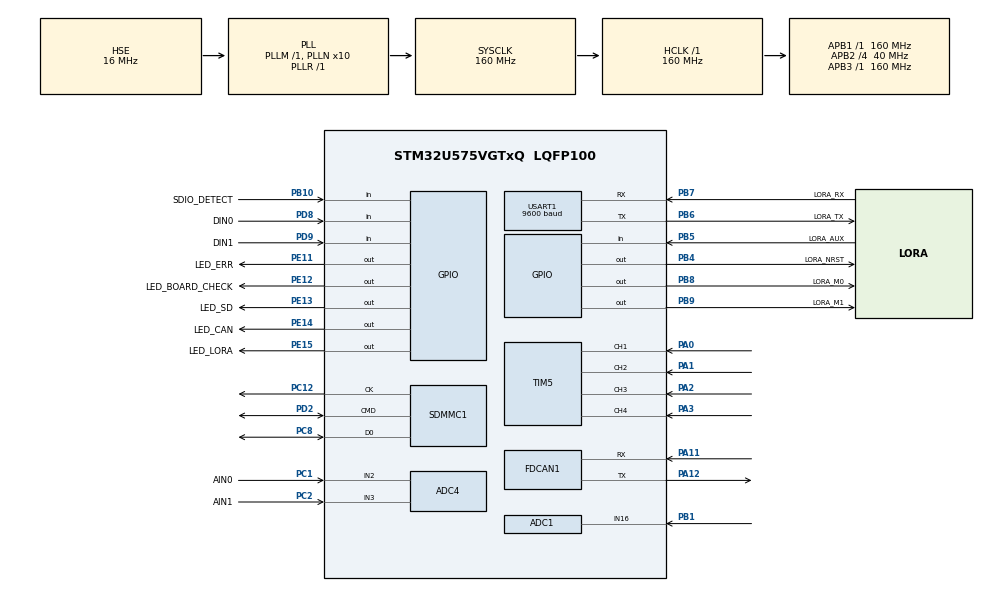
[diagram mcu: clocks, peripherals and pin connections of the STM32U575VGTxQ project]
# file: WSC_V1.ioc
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ADC1.ClockPrescaler=ADC_CLOCK_ASYNC_DIV4
ADC1.NbrOfConversion=1
ADC1.master=1
ADC4.ClockPrescaler=ADC_CLOCK_ASYNC_DIV4
ADC4.NbrOfConversion=1
ADC4.NbrOfConversionFlag=0
ADC4.SelectedChannel=ADC_CHANNEL_2|ADC_CHANNEL_3
CORTEX_M33_NS.userName=CORTEX_M33
FDCAN1.CalculateBaudRateNominal=500000
FDCAN1.CalculateTimeBitNominal=2000
FDCAN1.CalculateTimeQuantumNominal=200.0
FDCAN1.NominalTimeSeg1=7
FDCAN1.NominalTimeSeg2=2
FDCAN1.TxFifoQueueMode=FDCAN_TX_QUEUE_OPERATION
FILEX.FX_SD_INTERFACE=1
GPDMA1.CIRCULARMODE_GPDMACH0=ENABLE
GPDMA1.CIRCULARMODE_GPDMACH1=ENABLE
GPDMA1.DESTDATAWIDTH_GPDMACH0=DMA_DEST_DATAWIDTH_WORD
GPDMA1.DESTDATAWIDTH_GPDMACH1=DMA_DEST_DATAWIDTH_WORD
GPDMA1.DESTINC_GPDMACH0=DMA_DINC_INCREMENTED
GPDMA1.DESTINC_GPDMACH1=DMA_DINC_INCREMENTED
GPDMA1.IPHANDLE_GPDMACH0-SIMPLEREQUEST_GPDMACH0=__NULL
GPDMA1.IPHANDLE_GPDMACH1-SIMPLEREQUEST_GPDMACH1=__NULL
GPDMA1.REQUEST_GPDMACH0=GPDMA1_REQUEST_ADC4
GPDMA1.REQUEST_GPDMACH1=GPDMA1_REQUEST_ADC1
GPDMA1.SRCDATAWIDTH_GPDMACH0=DMA_SRC_DATAWIDTH_WORD
GPDMA1.SRCDATAWIDTH_GPDMACH1=DMA_SRC_DATAWIDTH_WORD
GPDMA1.SRCINC_GPDMACH0=DMA_SINC_FIXED
Mcu.Family=STM32U5
Mcu.Name=STM32U575VGTxQ
Mcu.Package=LQFP100
NVIC.ADC1_IRQn=true\:0\:0\:false\:false\:true\:true\:true\:true
NVIC.ADC4_IRQn=true\:0\:0\:false\:false\:true\:true\:true\:true
NVIC.FDCAN1_IT0_IRQn=true\:0\:0\:false\:false\:true\:true\:true\:true
NVIC.FDCAN1_IT1_IRQn=true\:0\:0\:false\:false\:true\:true\:true\:true
NVIC.PriorityGroup=NVIC_PRIORITYGROUP_4
NVIC.SDMMC1_IRQn=true\:0\:0\:false\:false\:true\:true\:true\:true
NVIC.TIM5_IRQn=true\:0\:0\:false\:false\:true\:true\:true\:true
NVIC.USART1_IRQn=true\:0\:0\:false\:false\:true\:true\:true\:true
PA0.Signal=S_TIM5_CH1
PA1.Signal=S_TIM5_CH2
PA11.Mode=FDCAN_Activate
PA11.Signal=FDCAN1_RX
PA12.Mode=FDCAN_Activate
PA12.Signal=FDCAN1_TX
PA2.Signal=S_TIM5_CH3
PA3.Signal=S_TIM5_CH4
PB1.Mode=IN16-Single-Ended
PB1.Signal=ADC1_IN16
PB10.GPIO_Label=SDIO_DETECT
PB10.Signal=GPIO_Input
PB4\ (NJTRST).GPIO_Label=LORA_NRST
PB4\ (NJTRST).Signal=GPIO_Output
PB5.GPIO_Label=LORA_AUX
PB5.Signal=GPIO_Input
PB6.GPIO_Label=LORA_TX
PB6.Mode=Asynchronous
PB6.Signal=USART1_TX
PB7.GPIO_Label=LORA_RX
PB7.Mode=Asynchronous
PB7.Signal=USART1_RX
PB8.GPIO_Label=LORA_M0
PB8.Signal=GPIO_Output
PB9.GPIO_Label=LORA_M1
PB9.Signal=GPIO_Output
PC1.GPIO_Label=AIN0
PC1.Signal=SharedAnalog_PC1
PC12.Mode=SD_1_bit
PC12.Signal=SDMMC1_CK
PC14-OSC32_IN\ (PC14).Mode=LSE-External-Oscillator
PC14-OSC32_IN\ (PC14).Signal=RCC_OSC32_IN
PC15-OSC32_OUT\ (PC15).Mode=LSE-External-Oscillator
PC15-OSC32_OUT\ (PC15).Signal=RCC_OSC32_OUT
PC2.GPIO_Label=AIN1
PC2.Signal=SharedAnalog_PC2
PC8.Mode=SD_1_bit
PC8.Signal=SDMMC1_D0
PD2.Mode=SD_1_bit
PD2.Signal=SDMMC1_CMD
PD8.GPIO_Label=DIN0
PD8.Signal=GPIO_Input
PD9.GPIO_Label=DIN1
PD9.Signal=GPIO_Input
PE11.GPIO_Label=LED_ERR
PE11.Signal=GPIO_Output
PE12.GPIO_Label=LED_BOARD_CHECK
PE12.Signal=GPIO_Output
PE13.GPIO_Label=LED_SD
PE13.Signal=GPIO_Output
PE14.GPIO_Label=LED_CAN
PE14.Signal=GPIO_Output
PE15.GPIO_Label=LED_LORA
PE15.Signal=GPIO_Output
PH0-OSC_IN\ (PH0).Mode=HSE-External-Oscillator
PH0-OSC_IN\ (PH0).Signal=RCC_OSC_IN
PH1-OSC_OUT\ (PH1).Mode=HSE-External-Oscillator
PH1-OSC_OUT\ (PH1).Signal=RCC_OSC_OUT
PWR.PowerMode=PWR_SMPS_SUPPLY
ProjectManager.HeapSize=0x200
ProjectManager.StackSize=0x400
ProjectManager.TargetToolchain=STM32CubeIDE
RCC.ADCFreq_Value=16000000
RCC.AHBFreq_Value=160000000
RCC.APB1Freq_Value=160000000
RCC.APB1TimFreq_Value=160000000
RCC.APB2CLKDivider=RCC_HCLK_DIV4
RCC.APB2Freq_Value=40000000
RCC.APB2TimFreq_Value=80000000
RCC.APB3Freq_Value=160000000
RCC.CortexFreq_Value=160000000
RCC.EPOD_VALUE=16000000
RCC.HCLKFreq_Value=160000000
RCC.HSE_VALUE=16000000
RCC.HSI48_VALUE=48000000
RCC.HSI_VALUE=16000000
RCC.LSIDIV_VALUE=32000
RCC.MSIClockRange=RCC_MSIRANGE_0
RCC.MSI_VALUE=48000000
RCC.PLL1R=1
RCC.PLL2FRACN=0
RCC.PLL3FRACN=0
RCC.PLLFRACN=0
RCC.PLLN=10
RCC.PLLSourceVirtual=RCC_PLLSOURCE_HSE
RCC.RTCClockSelection=RCC_RTCCLKSOURCE_LSE
RCC.SYSCLKFreq_VALUE=160000000
RCC.SYSCLKSource=RCC_SYSCLKSOURCE_PLLCLK
RCC.USBFreq_Value=48000000
RCC.VCOOutputFreq_Value=160000000
SDMMC1.ClockDiv=12
SH.S_TIM5_CH1.0=TIM5_CH1,Input_Capture1_from_TI1
SH.S_TIM5_CH2.0=TIM5_CH2,Input_Capture2_from_TI2
SH.S_TIM5_CH3.0=TIM5_CH3,Input_Capture3_from_TI3
SH.S_TIM5_CH4.0=TIM5_CH4,Input_Capture4_from_TI4
SH.SharedAnalog_PC1.0=ADC1_IN2
SH.SharedAnalog_PC1.1=ADC4_IN2,IN2
SH.SharedAnalog_PC2.0=ADC1_IN3
SH.SharedAnalog_PC2.1=ADC4_IN3,IN3
TIM5.Channel-Input_Capture1_from_TI1=TIM_CHANNEL_1
TIM5.Channel-Input_Capture2_from_TI2=TIM_CHANNEL_2
TIM5.Channel-Input_Capture3_from_TI3=TIM_CHANNEL_3
TIM5.Channel-Input_Capture4_from_TI4=TIM_CHANNEL_4
USART1.BaudRate=9600
USART1.VirtualMode-Asynchronous=VM_ASYNC
VP_ADC1_TempSens_Input.Mode=IN-TempSens
VP_FILEX_VS_FileOoSystemJjFileXJjCore.Mode=FileX_Core
VP_FILEX_VS_SDOointerface.Mode=SD_interface
VP_GPDMA1_VS_GPDMACH0.Mode=SIMPLEREQUEST_GPDMACH0
VP_GPDMA1_VS_GPDMACH1.Mode=SIMPLEREQUEST_GPDMACH1
VP_ICACHE_VS_ICACHE.Mode=DefaultMode
VP_LPBAMQUEUE_VS_QUEUE.Mode=QUEUEMODE
VP_LPBAM_VS_SIG1.Mode=SmartRun
VP_LPBAM_VS_SIG4.Mode=LPDMA1
VP_MEMORYMAP_VS_MEMORYMAP.Mode=CurAppReg
VP_PWR_VS_LPOM.Mode=PowerOptimisation
VP_PWR_VS_SECSignals.Mode=Security/Privilege
VP_PWR_Vdda.Mode=isolationVdda
VP_RTC_VS_RTC_Activate.Mode=RTC_Enabled
VP_TIM5_VS_ClockSourceINT.Mode=Internal
board=custom

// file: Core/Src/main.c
/* USER CODE BEGIN Header */
/**
  ******************************************************************************
  * @file           : main.c
  * @brief          : Main program body (Fixed Linker Error)
  ******************************************************************************
  * @attention
  *
  * Copyright (c) 2025 STMicroelectronics.
  * All rights reserved.
  *
  ******************************************************************************
  */
/* USER CODE END Header */
#include "main.h"
#include "adc.h"
#include "fdcan.h"
#include "app_filex.h"
#include "gpdma.h"
#include "icache.h"
#include "rtc.h"
#include "logger.h"
#include "sdmmc.h"
#include "tim.h"
#include "usart.h"
#include "gpio.h"

/* USER CODE BEGIN Includes */
#include <stdbool.h>
#include <string.h>
#include "logger.h"
#include "types.h"
#include "ringbuffer.h"
/* USER CODE END Includes */

/* USER CODE BEGIN PV */
// [시스템 상태]
SYSTEM_STATE sys_state = {0};

// [전역 로그 변수]
LOG syslog;

// [ADC 플래그]
volatile uint32_t adc_flag = 0;

// [링버퍼 참조]
extern ring_buffer_t LORA_BUFFER;
extern ring_buffer_t SD_BUFFER;

// [LED 깜빡임 보정용 타이머 변수]
volatile uint32_t led_can_off_tick = 0;
volatile uint32_t led_lora_off_tick = 0;
volatile uint32_t led_sd_off_tick = 0;
/* USER CODE END PV */

void SystemClock_Config(void);
static void SystemPower_Config(void);
/* USER CODE BEGIN PFP */
extern int FDCAN_SETUP(void);
extern int LORA_SETUP(void);
extern int ANALOG_SETUP(void);
extern void ANALOG_READ(void);
extern void DIGITAL_READ(void);
extern void RTC_READ(DATETIME *boot);
extern void LORA_TRANSMIT_LOG(void);

// [SD카드 관련 함수]
extern int SD_SETUP(DATETIME *boot);
extern int SD_WRITE(void);
extern int SD_SYNC(void);
/* USER CODE END PFP */

int main(void)
{

  /* MCU Configuration--------------------------------------------------------*/

  /* Reset of all peripherals, Initializes the Flash interface and the Systick. */
  HAL_Init();

  /* Configure the System Power */
  SystemPower_Config();

  /* Configure the system clock */
  SystemClock_Config();

  /* Initialize all configured peripherals */
  MX_GPIO_Init();
  MX_GPDMA1_Init();
  MX_ICACHE_Init();
  MX_FDCAN1_Init();
  MX_SDMMC1_SD_Init();
  MX_ADC4_Init();
  MX_ADC1_Init();
  MX_USART1_UART_Init();
  MX_RTC_Init();
  MX_FileX_Init();
  MX_TIM5_Init();
  /* USER CODE BEGIN 2 */

  // 0. 초기 부팅 시간 읽기
  DATETIME boot;
  RTC_READ(&boot);

  // [초기화 로그] Safe Logging 적용
  sys_state.SD = true;
  SYS_LOG(LOG_INFO, SYS, SYS_CORE_INIT, NULL);

  // 1. SD 카드 설정
  if (SD_SETUP(&boot) != 0) {
      sys_state.SD = false;
      HAL_GPIO_WritePin(LED_ERR_GPIO_Port, LED_ERR_Pin, GPIO_PIN_SET);
      SYS_LOG(LOG_ERROR, SYS, SYS_SD_FAIL, NULL);
  } else {
      sys_state.SD = true;
      SYS_LOG(LOG_INFO, SYS, SYS_SD_INIT, NULL);
  }

  // 2. FDCAN 설정
  if (FDCAN_SETUP() != 0) {
      SYS_LOG(LOG_ERROR, CAN, CAN_ERR_CANERR, NULL);
  } else {
      SYS_LOG(LOG_INFO, SYS, CAN_INIT, NULL);
  }

  // 3. LoRa 설정
  if (LORA_SETUP() == 0) {
      SYS_LOG(LOG_INFO, SYS, SYS_SERIAL_INIT, NULL);
  }

  // 4. ADC 설정
  if (ANALOG_SETUP() == 0) {
      SYS_LOG(LOG_INFO, SYS, ANALOG_INIT, NULL);
  }

  // 5. 준비 완료
  SYS_LOG(LOG_INFO, SYS, SYS_READY, NULL);

  // [시작 알림] LED 테스트
  HAL_GPIO_WritePin(LED_ERR_GPIO_Port, LED_ERR_Pin, GPIO_PIN_SET);
  HAL_GPIO_WritePin(LED_LORA_GPIO_Port, LED_LORA_Pin, GPIO_PIN_SET);
  HAL_GPIO_WritePin(LED_SD_GPIO_Port, LED_SD_Pin, GPIO_PIN_SET);
  HAL_Delay(500);
  HAL_GPIO_WritePin(LED_ERR_GPIO_Port, LED_ERR_Pin, GPIO_PIN_RESET);
  HAL_GPIO_WritePin(LED_LORA_GPIO_Port, LED_LORA_Pin, GPIO_PIN_RESET);
  HAL_GPIO_WritePin(LED_SD_GPIO_Port, LED_SD_Pin, GPIO_PIN_RESET);

  /* USER CODE END 2 */

  /* Infinite loop */
  /* USER CODE BEGIN WHILE */
  uint32_t last_tick_100ms = 0;
  uint32_t last_tick_1s = 0;

  while (1)
  {
    uint32_t current_tick = HAL_GetTick();

    // ---------------------------------------------------------
    // [LED 자동 끄기 로직] (Pulse Stretching)
    // ---------------------------------------------------------
    if (led_can_off_tick > 0) {
        if (current_tick > led_can_off_tick) {
            HAL_GPIO_WritePin(LED_CAN_GPIO_Port, LED_CAN_Pin, GPIO_PIN_RESET);
            led_can_off_tick = 0;
        } else {
            HAL_GPIO_WritePin(LED_CAN_GPIO_Port, LED_CAN_Pin, GPIO_PIN_SET);
        }
    }

    if (led_lora_off_tick > 0) {
        if (current_tick > led_lora_off_tick) {
            HAL_GPIO_WritePin(LED_LORA_GPIO_Port, LED_LORA_Pin, GPIO_PIN_RESET);
            led_lora_off_tick = 0;
        } else {
            HAL_GPIO_WritePin(LED_LORA_GPIO_Port, LED_LORA_Pin, GPIO_PIN_SET);
        }
    }

    if (led_sd_off_tick > 0) {
        if (current_tick > led_sd_off_tick) {
            HAL_GPIO_WritePin(LED_SD_GPIO_Port, LED_SD_Pin, GPIO_PIN_RESET);
            led_sd_off_tick = 0;
        } else {
            HAL_GPIO_WritePin(LED_SD_GPIO_Port, LED_SD_Pin, GPIO_PIN_SET);
        }
    }
    // ---------------------------------------------------------

    // [100ms 주기 작업]
    if (current_tick - last_tick_100ms >= 100) {
        last_tick_100ms = current_tick;

        // [삭제됨] 에러 원인이었던 MX_FileX_Process() 제거
        // MX_FileX_Process();

        // (1) 시스템 센서 데이터
        if (adc_flag & (1 << FLAG_ADC_SYS)) {
            adc_flag &= ~(1 << FLAG_ADC_SYS);
            uint16_t safe_sys_data[4] = {0};
            safe_sys_data[0] = (uint16_t)adc_sys_value[0];
            safe_sys_data[1] = (uint16_t)adc_sys_value[1];
            SYS_LOG(LOG_INFO, ADC, KEY_ADC_TEMP, safe_sys_data);
        }

        // (2) 외부 센서 데이터
        if (adc_flag & (1 << FLAG_ADC_AIN)) {
            adc_flag &= ~(1 << FLAG_ADC_AIN);
            uint16_t safe_ain_data[4] = {0};
            safe_ain_data[0] = (uint16_t)adc_ain_value[0];
            safe_ain_data[1] = (uint16_t)adc_ain_value[1];
            SYS_LOG(LOG_INFO, ADC, KEY_ADC_PC1, safe_ain_data);
        }

        // (3) 센서 읽기 (GPIO 변화 감지는 여기서 내부적으로 SYS_LOG 호출)
        ANALOG_READ();
        DIGITAL_READ();

        // (4) LoRa 전송
        LORA_TRANSMIT_LOG();

        // (5) SD 카드 저장 (버퍼 -> 파일)
        if (sys_state.SD) {
            SD_WRITE();
        }

        // Heartbeat
        HAL_GPIO_TogglePin(LED_BOARD_CHECK_GPIO_Port, LED_BOARD_CHECK_Pin);
    }

    // [1초 주기 작업]
    if (current_tick - last_tick_1s >= 1000) {
        last_tick_1s = current_tick;

        DATETIME now;
        RTC_READ(&now);

        // (6) SD 카드 동기화 (Flush)
        if (sys_state.SD) {
            SD_SYNC();
        }
    }
    /* USER CODE END WHILE */

  }
}

void SystemClock_Config(void)
{
  RCC_OscInitTypeDef RCC_OscInitStruct = {0};
  RCC_ClkInitTypeDef RCC_ClkInitStruct = {0};

  /** Configure the main internal regulator output voltage
  */
  if (HAL_PWREx_ControlVoltageScaling(PWR_REGULATOR_VOLTAGE_SCALE1) != HAL_OK)
  {
    Error_Handler();
  }

  /** Configure LSE Drive Capability
  */
  HAL_PWR_EnableBkUpAccess();
  __HAL_RCC_LSEDRIVE_CONFIG(RCC_LSEDRIVE_LOW);

  /** Initializes the CPU, AHB and APB buses clocks
  */
  RCC_OscInitStruct.OscillatorType = RCC_OSCILLATORTYPE_HSI|RCC_OSCILLATORTYPE_HSE
                              |RCC_OSCILLATORTYPE_LSE;
  RCC_OscInitStruct.HSEState = RCC_HSE_ON;
  RCC_OscInitStruct.LSEState = RCC_LSE_ON;
  RCC_OscInitStruct.HSIState = RCC_HSI_ON;
  RCC_OscInitStruct.HSICalibrationValue = RCC_HSICALIBRATION_DEFAULT;
  RCC_OscInitStruct.PLL.PLLState = RCC_PLL_ON;
  RCC_OscInitStruct.PLL.PLLSource = RCC_PLLSOURCE_HSE;
  RCC_OscInitStruct.PLL.PLLMBOOST = RCC_PLLMBOOST_DIV1;
  RCC_OscInitStruct.PLL.PLLM = 1;
  RCC_OscInitStruct.PLL.PLLN = 10;
  RCC_OscInitStruct.PLL.PLLP = 2;
  RCC_OscInitStruct.PLL.PLLQ = 2;
  RCC_OscInitStruct.PLL.PLLR = 1;
  RCC_OscInitStruct.PLL.PLLRGE = RCC_PLLVCIRANGE_1;
  RCC_OscInitStruct.PLL.PLLFRACN = 0;
  if (HAL_RCC_OscConfig(&RCC_OscInitStruct) != HAL_OK)
  {
    Error_Handler();
  }

  /** Initializes the CPU, AHB and APB buses clocks
  */
  RCC_ClkInitStruct.ClockType = RCC_CLOCKTYPE_HCLK|RCC_CLOCKTYPE_SYSCLK
                              |RCC_CLOCKTYPE_PCLK1|RCC_CLOCKTYPE_PCLK2
                              |RCC_CLOCKTYPE_PCLK3;
  RCC_ClkInitStruct.SYSCLKSource = RCC_SYSCLKSOURCE_PLLCLK;
  RCC_ClkInitStruct.AHBCLKDivider = RCC_SYSCLK_DIV1;
  RCC_ClkInitStruct.APB1CLKDivider = RCC_HCLK_DIV1;
  RCC_ClkInitStruct.APB2CLKDivider = RCC_HCLK_DIV4;
  RCC_ClkInitStruct.APB3CLKDivider = RCC_HCLK_DIV1;

  if (HAL_RCC_ClockConfig(&RCC_ClkInitStruct, FLASH_LATENCY_4) != HAL_OK)
  {
    Error_Handler();
  }
}

/**
  * @brief Power Configuration
  * @retval None
  */
static void SystemPower_Config(void)
{
  if (HAL_PWREx_ConfigSupply(PWR_SMPS_SUPPLY) != HAL_OK)
  {
    Error_Handler();
  }
}

void Error_Handler(void)
{
  HAL_GPIO_WritePin(LED_ERR_GPIO_Port, LED_ERR_Pin, GPIO_PIN_SET);
  __disable_irq();
  while (1)
  {
  }
}
